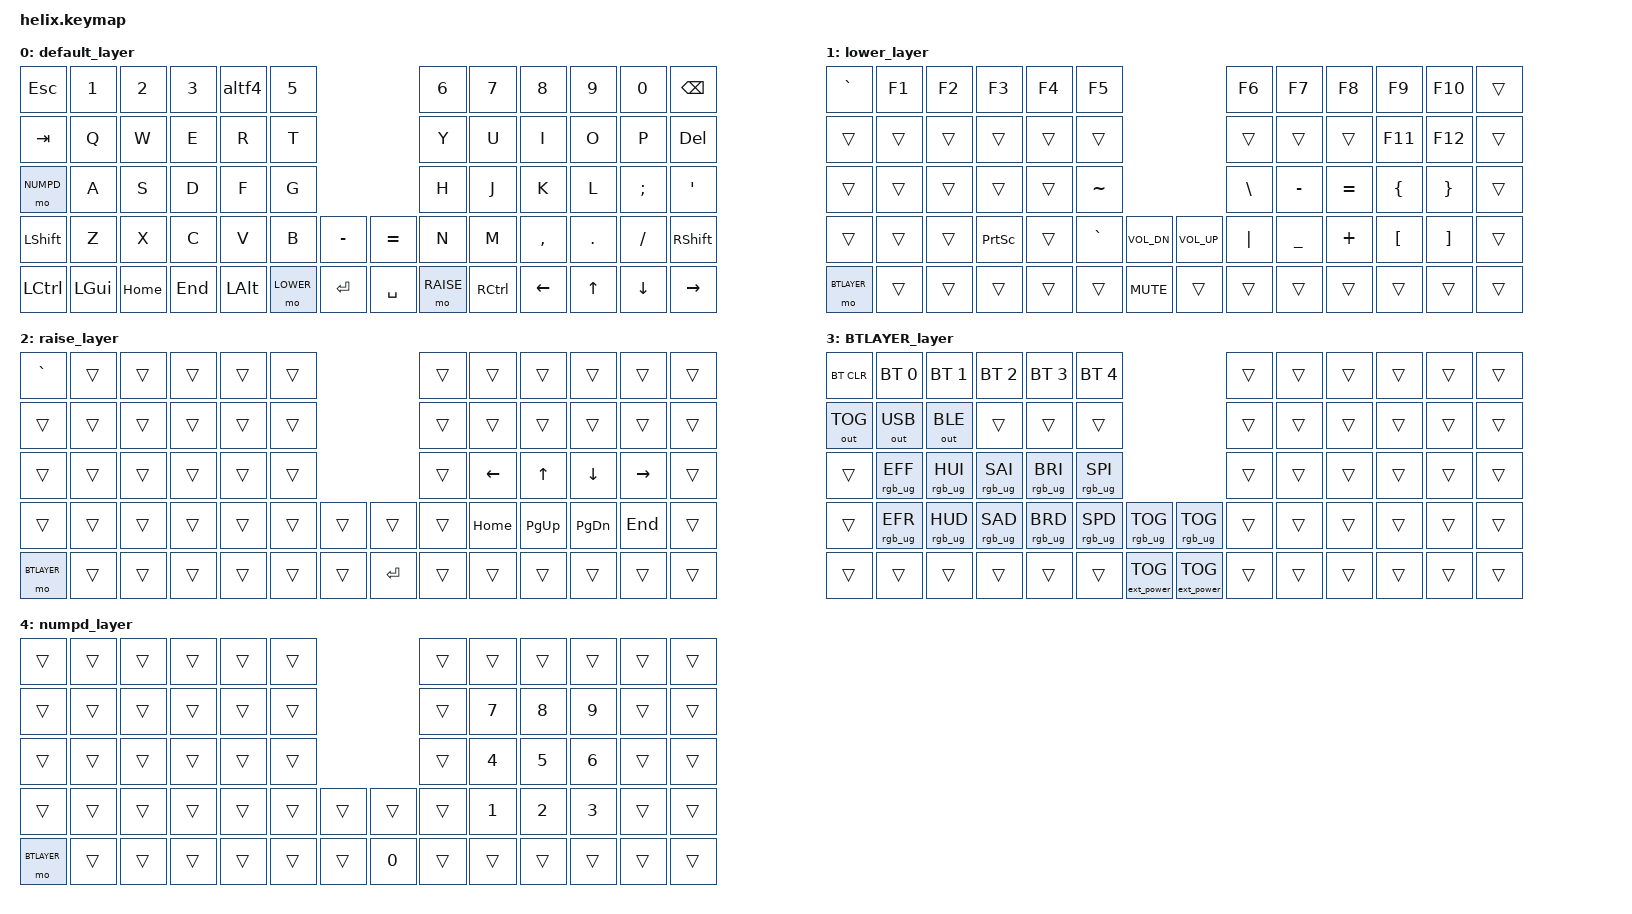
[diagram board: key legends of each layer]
/*
 * Copyright (c) 2020 The ZMK Contributors
 *
 * SPDX-License-Identifier: MIT
 */

 #include <behaviors.dtsi>
 #include <dt-bindings/zmk/keys.h>
 #include <dt-bindings/zmk/bt.h>
 #include <dt-bindings/zmk/outputs.h>
 #include <dt-bindings/zmk/rgb.h>
 #include <dt-bindings/zmk/ext_power.h>

 /*
 * Temporarily here because nice nano v2 spi is not defined on ZMk Yet
 * Source: https://github.com/zmkfirmware/zmk/blob/main/app/boards/shields/reviung41/boards/nice_nano.overlay
 * GitHub Issue: https://github.com/zmkfirmware/zmk/issues/885
 */

#include <dt-bindings/led/led.h>
&spi1 {
	compatible = "nordic,nrf-spim";
	status = "okay";
	mosi-pin = <6>;
	// Unused pins, needed for SPI definition, but not used by the ws2812 driver itself.
	sck-pin = <5>;
	miso-pin = <7>;

	led_strip: ws2812@0 {
		compatible = "worldsemi,ws2812-spi";
		label = "WS2812";

		/* SPI */
		reg = <0>; /* ignored, but necessary for SPI bindings */
		spi-max-frequency = <4000000>;

		/* WS2812 */
		chain-length = <32>;
		spi-one-frame = <0x70>;
		spi-zero-frame = <0x40>;
		color-mapping = <LED_COLOR_ID_GREEN LED_COLOR_ID_RED LED_COLOR_ID_BLUE>;
	};
};

/ {
	chosen {
		zmk,underglow = &led_strip;
	};
};

/* END temporary RGB support section */

 #define DEFAULT 0
 #define LOWER  1
 #define RAISE  2
 #define BTLAYER 3
 #define NUMPD 4

/ {
       
       behaviors {
              altf4: alt_f4 {
              compatible = "zmk,behavior-mod-morph";
              label = "ALT_F4";
              #binding-cells = <0>;
              bindings = <&kp N4>, <&kp LA(F4)>;
              mods = <(MOD_LALT)>;
              };
       };
       
       keymap {
              compatible = "zmk,keymap";
 
              default_layer {
 // ----------------------------------------------------------------------------------------------------------------------------------------------------
 // |  ESC   |   1    |   2    |   3    |   4    |   5    |                                      |   6    |   7    |   8    |   9    |   0    |  BSPC  |
 // |  TAB   |   Q    |   W    |   E    |   R    |   T    |                                      |   Y    |   U    |   I    |   O    |   P    |  DEL   |
 // |  NUMPD |   A    |   S    |   D    |   F    |   G    |                                      |   H    |   J    |   K    |   L    |   ;    |   '    |
 // |  SHIFT |   Z    |   X    |   C    |   V    |   B    |   -    |                    |    =   |   N    |   M    |   ,    |   .    |   /    |  SHIFT |
 // |  CTRL  |  WIN   |  HOME  |  END   |  ALT   | LOWER  | ENTER  |                    |  SPACE | LOWER  |  CTRL  |  LEFT  |  UP    |  DOWN  |  RIGHT |
                     bindings = <
       &kp ESC    &kp N1   &kp N2    &kp N3    &altf4    &kp N5                               &kp N6    &kp N7    &kp N8    &kp N9     &kp N0    &kp BSPC
       &kp TAB    &kp Q    &kp W     &kp E     &kp R     &kp T                                &kp Y     &kp U     &kp I     &kp O      &kp P     &kp DEL
       &mo NUMPD  &kp A    &kp S     &kp D     &kp F     &kp G                                &kp H     &kp J     &kp K     &kp L      &kp SEMI  &kp SQT
       &kp LSHFT  &kp Z    &kp X     &kp C     &kp V     &kp B     &kp MINUS        &kp EQUAL &kp N     &kp M     &kp COMMA &kp PERIOD &kp SLASH &kp RSHFT
       &kp LCTRL  &kp LGUI &kp HOME  &kp END   &kp LALT  &mo LOWER &kp ENTER        &kp SPACE &mo RAISE &kp RCTRL &kp LEFT   &kp UP    &kp DOWN  &kp RIGHT
                     >;
              };
              lower_layer {
 //    -------------------------------------------                                          -------------------------------------------
 //    |  ~   |  F1  |  F2  |  F3  |  F4  |  F5  |                                          |  F6  |  F7  |  F8  |  F9  |  F10 |      |
 //    |      |      |      |      |      |      |                                          |      |      |      |  F11 |  F12 |      |
 //    |      |      |      |      |      |  ~   |                                          |  \   |  -   |  =   |  {   |   }  |      |
 //    |      |      |      |PSCRN |      |  `   | Vol- |                            | Vol+ |  |   |  _   |  +   |  [   |   ]  |      |
 //    |      |      |      |      |      |      | Mute |                            |      |      |      |      |      |      |      |
                     bindings = <
       &kp GRAVE   &kp F1   &kp F2   &kp F3    &kp F4    &kp F5                                &kp F6    &kp F7    &kp F8     &kp F9    &kp F10   &trans
       &trans      &trans   &trans   &trans    &trans    &trans                                &trans    &trans    &trans     &kp F11   &kp F12   &trans
       &trans      &trans   &trans   &trans    &trans    &kp TILDE                             &kp BSLH  &kp MINUS &kp EQUAL  &kp LBRC  &kp RBRC  &trans
       &trans      &trans   &trans   &kp PSCRN &trans    &kp GRAVE &kp C_VOL_DN  &kp C_VOL_UP  &kp PIPE  &kp UNDER &kp PLUS   &kp LBKT  &kp RBKT  &trans
       &mo BTLAYER &trans   &trans   &trans    &trans    &trans    &kp C_MUTE    &trans        &trans    &trans    &trans     &trans    &trans    &trans
                     >;
              };
              raise_layer {
 // -------------------------------------------------                               -------------------------------------------------
 // |   `   |       |       |       |       |       |                               |       |       |       |       |       |       |
 // |       |       |       |       |       |       |                               |       |       |       |       |       |       |
 // |       |       |       |       |       |       |                               |       |   <-  |   ^   |   v   |   ->  |       |
 // |       |       |       |       |       |       |       |               |       |       |  Home | PgUp  | PgDn  |  End  |       |
 // |BTLAYER|       |       |       |       |       |       |               | ENTER |       |       |       |       |       |       |
                     bindings = <
       &kp GRAVE   &trans &trans &trans &trans  &trans                              &trans  &trans    &trans     &trans       &trans     &trans
       &trans      &trans &trans &trans &trans  &trans                              &trans  &trans    &trans     &trans       &trans     &trans
       &trans      &trans &trans &trans &trans  &trans                              &trans  &kp LEFT  &kp UP     &kp DOWN     &kp RIGHT  &trans
       &trans      &trans &trans &trans &trans  &trans  &trans        &trans        &trans  &kp HOME  &kp PG_UP  &kp PG_DN    &kp END    &trans
       &mo BTLAYER &trans &trans &trans &trans  &trans  &trans        &kp ENTER     &trans  &trans    &trans     &trans       &trans     &trans
                     >;
              };
              BTLAYER_layer {
 // -------------------------------------------------------------------                                                                       -----------------------------------------------
 // |  BT CLR  | BT SEL0  | BT SEL1  | BT SEL2  | BT SEL3  | BT SEL4  |                                                                       |      |       |       |       |       |      |
 // | OUT TOG  | OUT USB  | OUT BLE  |          |          |          |                                                                       |      |       |       |       |       |      |
 // |          | RGB EF+  | RGB HU+  | RGB SA+  | RGB BR+  | RGB SP+  |                                                                       |      |       |       |       |       |      |
 // |          | RGB EF-  | RGB HU-  | RGB SA-  | RGB BR-  | RGB SP-  | RGB Tog  |                                        |                   |      |       |       |       |       |      |
 // |          |          |          |          |          |          |ExtPwr Tog|                                        |                   |      |       |       |       |       |      |
                     bindings = <
     &bt BT_CLR   &bt BT_SEL 0     &bt BT_SEL 1    &bt BT_SEL 2    &bt BT_SEL 3    &bt BT_SEL 4                                               &trans  &trans  &trans  &trans  &trans  &trans
     &out OUT_TOG &out OUT_USB     &out OUT_BLE    &trans          &trans          &trans                                                     &trans  &trans  &trans  &trans  &trans  &trans
     &trans       &rgb_ug RGB_EFF  &rgb_ug RGB_HUI &rgb_ug RGB_SAI &rgb_ug RGB_BRI &rgb_ug RGB_SPI                                            &trans  &trans  &trans  &trans  &trans  &trans
     &trans       &rgb_ug RGB_EFR  &rgb_ug RGB_HUD &rgb_ug RGB_SAD &rgb_ug RGB_BRD &rgb_ug RGB_SPD &rgb_ug RGB_TOG        &rgb_ug RGB_TOG     &trans  &trans  &trans  &trans  &trans  &trans
     &trans       &trans           &trans          &trans          &trans          &trans          &ext_power EP_TOG      &ext_power EP_TOG   &trans  &trans  &trans  &trans  &trans  &trans
                     >;
              };
              numpd_layer {
 // -------------------------------------------------                              -------------------------------------------------
 // |       |       |       |       |       |       |                              |       |       |       |       |       |       |
 // |       |       |       |       |       |       |                              |       |   7   |   8   |   9   |       |       |
 // |       |       |       |       |       |       |                              |       |   4   |   5   |   6   |       |       |
 // |       |       |       |       |       |       |       |              |       |       |   1   |   2   |   3   |       |       |
 // |BTLAYER|       |       |       |       |       |       |              |   0   |       |       |       |       |       |       |
                     bindings = <
       &trans      &trans &trans &trans &trans  &trans                              &trans  &trans  &trans  &trans  &trans  &trans
       &trans      &trans &trans &trans &trans  &trans                              &trans  &kp N7  &kp N8  &kp N9  &trans  &trans
       &trans      &trans &trans &trans &trans  &trans                              &trans  &kp N4  &kp N5  &kp N6  &trans  &trans
       &trans      &trans &trans &trans &trans  &trans  &trans        &trans        &trans  &kp N1  &kp N2  &kp N3  &trans  &trans
       &mo BTLAYER &trans &trans &trans &trans  &trans  &trans        &kp N0        &trans  &trans  &trans  &trans  &trans  &trans
                     >;
              };
       };
};
